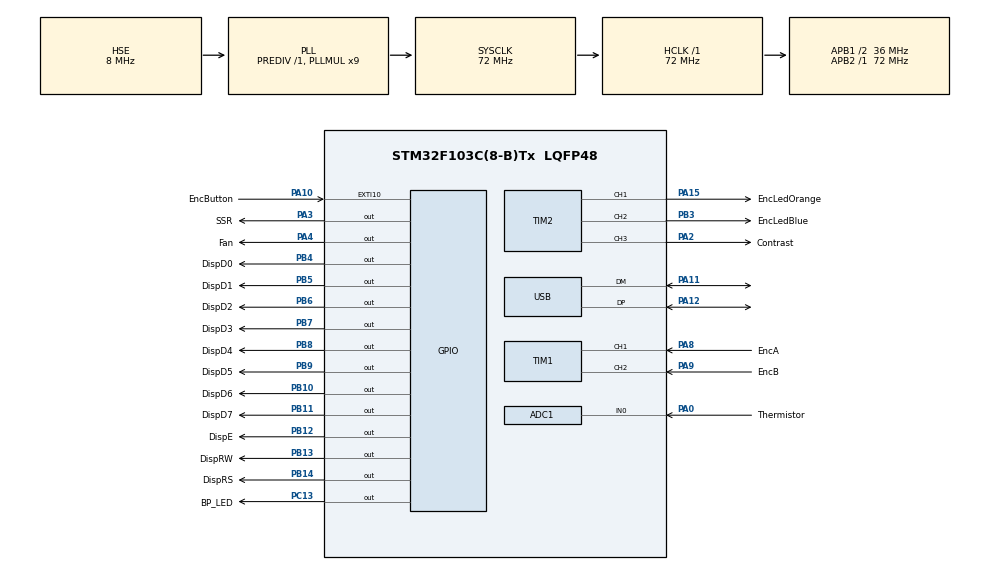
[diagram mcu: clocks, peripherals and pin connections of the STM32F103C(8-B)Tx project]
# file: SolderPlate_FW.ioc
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ADC1.Channel-0\#ChannelRegularConversion=ADC_CHANNEL_0
ADC1.Channel-1\#ChannelRegularConversion=ADC_CHANNEL_TEMPSENSOR
ADC1.Channel-2\#ChannelRegularConversion=ADC_CHANNEL_VREFINT
ADC1.ContinuousConvMode=DISABLE
ADC1.NbrOfConversion=3
ADC1.NbrOfConversionFlag=1
ADC1.Rank-0\#ChannelRegularConversion=1
ADC1.Rank-1\#ChannelRegularConversion=2
ADC1.Rank-2\#ChannelRegularConversion=3
ADC1.SamplingTime-0\#ChannelRegularConversion=ADC_SAMPLETIME_7CYCLES_5
ADC1.SamplingTime-1\#ChannelRegularConversion=ADC_SAMPLETIME_239CYCLES_5
ADC1.SamplingTime-2\#ChannelRegularConversion=ADC_SAMPLETIME_7CYCLES_5
ADC1.master=1
Dma.ADC1.0.Direction=DMA_PERIPH_TO_MEMORY
Dma.ADC1.0.Instance=DMA1_Channel1
Dma.ADC1.0.MemDataAlignment=DMA_MDATAALIGN_HALFWORD
Dma.ADC1.0.MemInc=DMA_MINC_ENABLE
Dma.ADC1.0.Mode=DMA_CIRCULAR
Dma.ADC1.0.PeriphDataAlignment=DMA_PDATAALIGN_HALFWORD
Dma.ADC1.0.PeriphInc=DMA_PINC_DISABLE
Dma.ADC1.0.Priority=DMA_PRIORITY_LOW
Dma.Request0=ADC1
IWDG.Prescaler=IWDG_PRESCALER_32
Mcu.Family=STM32F1
Mcu.Name=STM32F103C(8-B)Tx
Mcu.Package=LQFP48
NVIC.DMA1_Channel1_IRQn=true\:0\:0\:false\:false\:true\:false\:true\:true
NVIC.EXTI15_10_IRQn=true\:0\:0\:false\:false\:true\:true\:true\:true
NVIC.PriorityGroup=NVIC_PRIORITYGROUP_4
NVIC.TIM3_IRQn=true\:2\:0\:true\:false\:true\:true\:true\:true
NVIC.USB_LP_CAN1_RX0_IRQn=true\:0\:0\:true\:false\:true\:false\:true\:true
PA0-WKUP.GPIO_Label=Thermistor
PA0-WKUP.Signal=ADCx_IN0
PA10.GPIO_Label=EncButton
PA10.GPIO_ModeDefaultEXTI=GPIO_MODE_IT_FALLING
PA10.GPIO_PuPd=GPIO_PULLUP
PA10.Signal=GPXTI10
PA11.Mode=Device
PA11.Signal=USB_DM
PA12.Mode=Device
PA12.Signal=USB_DP
PA13.Mode=Serial_Wire
PA13.Signal=SYS_JTMS-SWDIO
PA14.Mode=Serial_Wire
PA14.Signal=SYS_JTCK-SWCLK
PA15.GPIO_Label=EncLedOrange
PA15.GPIO_ModeDefaultPP=GPIO_MODE_AF_OD
PA15.GPIO_Speed=GPIO_SPEED_FREQ_LOW
PA15.Signal=S_TIM2_CH1_ETR
PA2.GPIO_Label=Contrast
PA2.GPIO_Speed=GPIO_SPEED_FREQ_LOW
PA2.Signal=S_TIM2_CH3
PA3.GPIO_Label=SSR
PA3.Signal=GPIO_Output
PA4.GPIO_Label=Fan
PA4.Signal=GPIO_Output
PA8.GPIO_Label=EncA
PA8.GPIO_PuPd=GPIO_PULLUP
PA8.Signal=S_TIM1_CH1
PA9.GPIO_Label=EncB
PA9.GPIO_PuPd=GPIO_PULLUP
PA9.Signal=S_TIM1_CH2
PB10.GPIO_Label=DispD6
PB10.GPIO_Speed=GPIO_SPEED_FREQ_LOW
PB10.Signal=GPIO_Output
PB11.GPIO_Label=DispD7
PB11.GPIO_Speed=GPIO_SPEED_FREQ_LOW
PB11.Signal=GPIO_Output
PB12.GPIO_Label=DispE
PB12.GPIO_Speed=GPIO_SPEED_FREQ_LOW
PB12.Signal=GPIO_Output
PB13.GPIO_Label=DispRW
PB13.GPIO_Speed=GPIO_SPEED_FREQ_LOW
PB13.Signal=GPIO_Output
PB14.GPIO_Label=DispRS
PB14.GPIO_Speed=GPIO_SPEED_FREQ_LOW
PB14.Signal=GPIO_Output
PB3.GPIO_Label=EncLedBlue
PB3.GPIO_ModeDefaultPP=GPIO_MODE_AF_OD
PB3.GPIO_Speed=GPIO_SPEED_FREQ_LOW
PB3.Signal=S_TIM2_CH2
PB4.GPIO_Label=DispD0
PB4.GPIO_Speed=GPIO_SPEED_FREQ_LOW
PB4.Signal=GPIO_Output
PB5.GPIO_Label=DispD1
PB5.GPIO_Speed=GPIO_SPEED_FREQ_LOW
PB5.Signal=GPIO_Output
PB6.GPIO_Label=DispD2
PB6.GPIO_Speed=GPIO_SPEED_FREQ_LOW
PB6.Signal=GPIO_Output
PB7.GPIO_Label=DispD3
PB7.GPIO_Speed=GPIO_SPEED_FREQ_LOW
PB7.Signal=GPIO_Output
PB8.GPIO_Label=DispD4
PB8.GPIO_Speed=GPIO_SPEED_FREQ_LOW
PB8.Signal=GPIO_Output
PB9.GPIO_Label=DispD5
PB9.GPIO_Speed=GPIO_SPEED_FREQ_LOW
PB9.Signal=GPIO_Output
PC13-TAMPER-RTC.GPIO_Label=BP_LED
PC13-TAMPER-RTC.Signal=GPIO_Output
PC14-OSC32_IN.Mode=LSE-External-Oscillator
PC14-OSC32_IN.Signal=RCC_OSC32_IN
PC15-OSC32_OUT.Mode=LSE-External-Oscillator
PC15-OSC32_OUT.Signal=RCC_OSC32_OUT
PD0-OSC_IN.Mode=HSE-External-Oscillator
PD0-OSC_IN.Signal=RCC_OSC_IN
PD1-OSC_OUT.Mode=HSE-External-Oscillator
PD1-OSC_OUT.Signal=RCC_OSC_OUT
ProjectManager.HeapSize=0x200
ProjectManager.StackSize=0x400
ProjectManager.TargetToolchain=CMake
RCC.ADCPresc=RCC_ADCPCLK2_DIV6
RCC.AHBFreq_Value=72000000
RCC.APB1CLKDivider=RCC_HCLK_DIV2
RCC.APB1Freq_Value=36000000
RCC.APB1TimFreq_Value=72000000
RCC.APB2Freq_Value=72000000
RCC.APB2TimFreq_Value=72000000
RCC.HCLKFreq_Value=72000000
RCC.PLLMUL=RCC_PLL_MUL9
RCC.SYSCLKFreq_VALUE=72000000
RCC.SYSCLKSource=RCC_SYSCLKSOURCE_PLLCLK
RCC.USBFreq_Value=48000000
RCC.USBPrescaler=RCC_USBCLKSOURCE_PLL_DIV1_5
SH.ADCx_IN0.0=ADC1_IN0,IN0
SH.S_TIM1_CH1.0=TIM1_CH1,Encoder_Interface
SH.S_TIM1_CH2.0=TIM1_CH2,Encoder_Interface
SH.S_TIM2_CH1_ETR.0=TIM2_CH1,PWM Generation1 CH1
SH.S_TIM2_CH2.0=TIM2_CH2,PWM Generation2 CH2
SH.S_TIM2_CH3.0=TIM2_CH3,PWM Generation3 CH3
TIM1.AutoReloadPreload=TIM_AUTORELOAD_PRELOAD_ENABLE
TIM1.EncoderMode=TIM_ENCODERMODE_TI12
TIM1.IC1Filter=10
TIM1.IC2Filter=10
TIM2.AutoReloadPreload=TIM_AUTORELOAD_PRELOAD_ENABLE
TIM2.Channel-PWM\ Generation1\ CH1=TIM_CHANNEL_1
TIM2.Channel-PWM\ Generation2\ CH2=TIM_CHANNEL_2
TIM2.Channel-PWM\ Generation3\ CH3=TIM_CHANNEL_3
TIM2.OCPolarity_1=TIM_OCPOLARITY_LOW
TIM2.OCPolarity_2=TIM_OCPOLARITY_LOW
TIM3.AutoReloadPreload=TIM_AUTORELOAD_PRELOAD_DISABLE
TIM3.ClockDivision=TIM_CLOCKDIVISION_DIV1
TIM3.CounterMode=TIM_COUNTERMODE_UP
TIM3.Period=60000
TIM3.Prescaler=11
TIM3.TIM_MasterOutputTrigger=TIM_TRGO_RESET
USB_DEVICE.CLASS_NAME_FS=CDC
USB_DEVICE.PRODUCT_STRING_CDC_FS=Virtual ComPort
USB_DEVICE.VirtualMode=Cdc
USB_DEVICE.VirtualModeFS=Cdc_FS
VP_ADC1_TempSens_Input.Mode=IN-TempSens
VP_ADC1_Vref_Input.Mode=IN-Vrefint
VP_IWDG_VS_IWDG.Mode=IWDG_Activate
VP_TIM2_VS_ClockSourceINT.Mode=Internal
VP_TIM3_VS_ClockSourceINT.Mode=Internal
VP_USB_DEVICE_VS_USB_DEVICE_CDC_FS.Mode=CDC_FS
board=custom

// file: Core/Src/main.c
/* USER CODE BEGIN Header */
/**
  ******************************************************************************
  * @file           : main.c
  * @brief          : Main program body
  ******************************************************************************
  * @attention
  *
  * Copyright (c) 2023 STMicroelectronics.
  * All rights reserved.
  *
  * This software is licensed under terms that can be found in the LICENSE file
  * in the root directory of this software component.
  * If no LICENSE file comes with this software, it is provided AS-IS.
  *
  ******************************************************************************
  */
/* USER CODE END Header */
#include "main.h"
#include "usb_device.h"

/* USER CODE BEGIN Includes */
#include "usbd_cdc_if.h"
#include "usb_redirect.h"

#include <stdio.h>
#include <math.h>
#include <stdint.h>
#include <stdbool.h>

#include "lcd16x2.h"
#include "config.h"
#include "thermistor.h"
#include "leds.h"
#include "pid.h"
#include "cli.h"
#include "state.h"
#include "persistent_data.h"
#include "menu.h"
/* USER CODE END Includes */

/* USER CODE BEGIN PD */
#define ADC_VDDA  (3.3)             // V
#define ADC_RANGE (4096)
#define THRM_AVG  (40)

#define LED_RANGE ((2 << 16) - 1)
#define LED_RATE  (100)

#define LCD_BLINK_RATE (30)        // x30mS

#define SHORT_PRESS (5)            // x10mS
#define LONG_PRESS  (100)          // x10mS

#define INT_TEMP_STEP   (4.3)       // mV
#define INT_TEMP_V25    (1430.0)    // mV

#define ADC_THRM_CH     (0)
#define ADC_INTTEMP_CH  (1)
#define ADC_VREF_CH     (2)

/* USER CODE END PD */

ADC_HandleTypeDef hadc1;
DMA_HandleTypeDef hdma_adc1;

IWDG_HandleTypeDef hiwdg;

TIM_HandleTypeDef htim1;
TIM_HandleTypeDef htim2;
TIM_HandleTypeDef htim3;

/* USER CODE BEGIN PV */

/*
Timer1 - Encoder input
Timer2 - PWM generator:
         Ch1 - Orange Encoder LED
         Ch2 - Blue Encoder LED
         Ch3 - LCD contrast
Timer3 - 10msec clock

*/

/* USER CODE END PV */

void SystemClock_Config(void);
static void MX_GPIO_Init(void);
static void MX_DMA_Init(void);
static void MX_ADC1_Init(void);
static void MX_TIM1_Init(void);
static void MX_TIM2_Init(void);
static void MX_TIM3_Init(void);
static void MX_IWDG_Init(void);
/* USER CODE BEGIN PFP */

extern uint32_t _estack;

static inline void reset_to_bootloader() {
  uint64_t * ptr = (uint64_t*)&_estack;
	*ptr = 0xDEADBEEFCC00FFEEULL;

  NVIC_SystemReset() ;
}

/* USER CODE END PFP */

/* USER CODE BEGIN 0 */
volatile uint16_t adc_results[3] ;
uint16_t thrm_res_buffer[THRM_AVG] ;

static uint16_t thrm_buf_idx = 0 ;
static uint16_t ssr_on_counter = 0 ;
static float plate_set_temp = DEFAULT_TEMP ;
static float user_set_temp = DEFAULT_TEMP ;

uint8_t ssr_off_char[8] = {0x1f, 0x11, 0x11, 0x11, 0x11, 0x11, 0x1f, 0x00} ;
uint8_t ssr_on_char[8]  = {0x1f, 0x1f, 0x1f, 0x1f, 0x1f, 0x1f, 0x1f, 0x00} ;

leds_state_t * orange_led ;
leds_state_t * blue_led ;

volatile uint32_t sec_ticker = 0 ;
volatile struct enc_button_s enc_button = {BUTTON_DONE, 0} ;
volatile uint32_t lcd_timer = 2 * LCD_BLINK_RATE ;
bool is_lcd_blink = false ;

/* USER CODE END 0 */

int main(void)
{

  /* USER CODE BEGIN 1 */
  float plate_temp ;
  float therm_rt ;
  char temp_update[17] ;
  int32_t last_count ;

  SystemState = SYS_POWER_UP ;

  /* USER CODE END 1 */

  /* MCU Configuration--------------------------------------------------------*/

  /* Reset of all peripherals, Initializes the Flash interface and the Systick. */
  HAL_Init();

  /* Configure the system clock */
  SystemClock_Config();

  /* Initialize all configured peripherals */
  MX_GPIO_Init();
  MX_DMA_Init();
  MX_ADC1_Init();
  MX_TIM1_Init();
  MX_TIM2_Init();
  MX_USB_DEVICE_Init();
  MX_TIM3_Init();
  MX_IWDG_Init();
  /* USER CODE BEGIN 2 */

//  setvbuf(stdout, NULL, _IONBF, 0);
  HAL_ADCEx_Calibration_Start(&hadc1) ;

  HAL_GPIO_WritePin(BP_LED_GPIO_Port, BP_LED_Pin, GPIO_PIN_RESET) ;
  HAL_GPIO_WritePin(SSR_GPIO_Port, SSR_Pin, GPIO_PIN_RESET) ;
  HAL_GPIO_WritePin(Fan_GPIO_Port, Fan_Pin, GPIO_PIN_RESET) ;

  HAL_TIM_PWM_Start(&htim2, TIM_CHANNEL_1) ;
  HAL_TIM_PWM_Start(&htim2, TIM_CHANNEL_2) ;
  HAL_TIM_PWM_Start(&htim2, TIM_CHANNEL_3) ;

  init_leds(100) ;
  orange_led = new_led(16, &(TIM2->CCR1)) ;
  blue_led = new_led(16, &(TIM2->CCR2)) ;

  set_led(blue_led, 20, 500) ;
//  printf("Start!\r\n") ;
  HAL_IWDG_Refresh(&hiwdg) ;

  TIM2->CCR3 = 27000 ; // LCD contrast

  HAL_TIM_Encoder_Start(&htim1, TIM_CHANNEL_ALL) ;

  LCD_Init(DispD0_GPIO_Port, IF_8BIT,
           DispRW_Pin, DispRS_Pin, DispE_Pin,
           DispD0_Pin, DispD1_Pin, DispD2_Pin, DispD3_Pin,
           DispD4_Pin, DispD5_Pin, DispD6_Pin, DispD7_Pin) ;

  LCD_SetCustomChar(1, ssr_off_char) ;
  LCD_SetCustomChar(2, ssr_on_char) ;

  LCD_SetPosition(LINE_1, 0) ;
  LCD_Print("  Temp.   Set  \x01") ;
//           1234567890123456

//  setvbuf(stdout, NULL, _IONBF, 0);
  plate_temp = 0.0 ;
  therm_rt = 0.0 ;
  last_count = TIM1->CNT ;

  HAL_IWDG_Refresh(&hiwdg) ;
  if (persistent_load() != HAL_OK) {
    LCD_SetPosition(LINE_1, 0) ;
    LCD_Print("Config Error!") ;

    Error_Handler();
  }

  pid_config_t * plate_pid = init_pid(persistent_data->p_gain,
                                      persistent_data->i_gain,
                                      persistent_data->d_gain,
                                      persistent_data->i_min,
                                      persistent_data->i_max) ;

  uint8_t update_display = 1 ;

  HAL_TIM_Base_Start_IT(&htim3) ;

  // Reset to bootloader, if encoder button is pressed for more than 30sec.
  uint32_t press_start = 0 ;
  while(HAL_GPIO_ReadPin(EncButton_GPIO_Port, EncButton_Pin) == GPIO_PIN_RESET) {
    HAL_Delay(100) ;
    if(press_start++ > 50) reset_to_bootloader() ;
  }

  /* USER CODE END 2 */

  /* Infinite loop */
  /* USER CODE BEGIN WHILE */
  SystemState = SYS_RUNNING ;
  int32_t menu_i = 0 ;
  double current_value = 0.0 ;

  while (1)
  {
    // Accumulated enough thermal sensor captures to do an average
    if(thrm_buf_idx >= THRM_AVG) {
      float thrm_sum = 0 ;

      // Average ADC readings
      for(int i = 0 ; i < THRM_AVG ; i++) thrm_sum += (float)thrm_res_buffer[i] ;
      thrm_sum /= THRM_AVG ;

      // Reset samples accumulator count
      thrm_buf_idx = 0 ;

      // Calculate plate temperature
      therm_rt = rt_by_ratio(thrm_sum / (float)ADC_RANGE, THERM_R1) ;
      plate_temp = calculate_temperature(therm_rt, THERM_BETA, THERM_R_T25) ;

      // Update PID and set plate SSR on time
      // On time is in 10mS resolution
      double pid_res = update_pid(plate_pid, plate_set_temp - plate_temp, plate_temp) ;
      if(pid_res <= 0) ssr_on_counter = 0 ;
      else ssr_on_counter = (uint16_t)pid_res ;

      update_display = 1 ;
    }

  // adc_v = ADC_VDDA * (thrm_sum / (float)ADC_RANGE) ;

  //  adc_v = ADC_VDDA * ((float) adc_results[ADC_INTTEMP_CH] / (float) ADC_RANGE) ;
  //  int_temp = (INT_TEMP_V25 - adc_v * 1000) / INT_TEMP_STEP + 25 ;
  //  printf("IntTemp = %3.1f | VIntTemp = %1.3fV (%d)\n\r", int_temp, adc_v, adc_results[ADC_INTTEMP_CH]) ;

  //  adc_v = ADC_VDDA * ((float) adc_results[2] / (float) ADC_RANGE) ;
  //  printf("Vref = %1.3fV (%d)\n\r", adc_v, adc_results[2]) ;

    if(SystemState == SYS_RUNNING) {
      // Update set temperature value
      if((TIM1->CNT >> 2) - last_count) {
        int32_t change = ((int32_t)(TIM1->CNT >> 2) - last_count) ;

        if (abs(change) < 10) user_set_temp += change * 1.0 ;
        else user_set_temp += change * 5.0 ;

        last_count = TIM1->CNT >> 2 ;

        if (user_set_temp > MAX_TEMP) user_set_temp = MAX_TEMP ;
        if (user_set_temp < MIN_TEMP) user_set_temp = MIN_TEMP ;

        if (user_set_temp != plate_set_temp) is_lcd_blink = true ;
        else is_lcd_blink = false ;

        update_display = 1 ;
      }

      // Update LCD
      if(update_display) {
        HAL_IWDG_Refresh(&hiwdg) ;

        LCD_SetPosition(LINE_1, 0) ;
        LCD_Print("  Temp.   Set  ") ;

        LCD_SetPosition(LINE_2, 0) ;

        if (is_lcd_blink && lcd_timer > LCD_BLINK_RATE) {
          snprintf(temp_update, 17, "% 3.1f\xb2\x43          ", plate_temp) ;
          LCD_Print(temp_update) ;
        }
        else {
          snprintf(temp_update, 17, "% 3.1f\xb2\x43  % 3.0f\xb2\x43 ", plate_temp, user_set_temp) ;
          LCD_Print(temp_update) ;
        }

        update_display = 0 ;
      }

      switch (enc_button.state)
      {
      case BUTTON_SHORT:
        plate_set_temp = user_set_temp ;
        is_lcd_blink = false ;
        enc_button.state = BUTTON_DONE ;
        break;
      case BUTTON_LONG:
        if (SystemState == SYS_RUNNING) SystemState = SYS_MENU ;
        enc_button.state = BUTTON_DONE ;
        break;
      case BUTTON_RELEASE:
        enc_button.state = BUTTON_DONE ;
        break;
      default:
        break;
      }
    }

    if(ssr_on_counter > 0) {
      LCD_SetPosition(LINE_1, 15) ;
      LCD_Print("\x02") ;
      HAL_GPIO_WritePin(SSR_GPIO_Port, SSR_Pin, GPIO_PIN_SET) ;
    }
    else {
      LCD_SetPosition(LINE_1, 15) ;
      LCD_Print("\x01") ;
      HAL_GPIO_WritePin(SSR_GPIO_Port, SSR_Pin, GPIO_PIN_RESET) ;
    }

    if (SystemState == SYS_MENU) {
      if((TIM1->CNT >> 2) - last_count) {
        int32_t change = ((int32_t)(TIM1->CNT >> 2) - last_count) ;

        menu_i += change ;

        if (menu_i < 0) menu_i = 0 ;
        if (menu_i >= (int32_t) menu_size) menu_i = menu_size - 1 ;

        last_count = TIM1->CNT >> 2 ;

        current_value = *(user_menu[menu_i].value) ;

        update_display = 1 ;
      }

      if(update_display) {
        HAL_IWDG_Refresh(&hiwdg) ;
        LCD_SetPosition(LINE_1, 0) ;
        snprintf(temp_update, 17, "\xf6 %-13s", user_menu[menu_i].title) ;
        LCD_Print(temp_update) ;

        if (user_menu[menu_i].value != NULL) {
          LCD_SetPosition(LINE_2, 0) ;
          snprintf(temp_update, 17, " %-15.1f", current_value) ;
          LCD_Print(temp_update) ;
        }
        else {
          LCD_SetPosition(LINE_2, 0) ;
          snprintf(temp_update, 17, "               ") ;
          LCD_Print(temp_update) ;
        }

        update_display = 0 ;
      }

      switch (enc_button.state)
      {
      case BUTTON_SHORT:
        enc_button.state = BUTTON_DONE ;
        break;
      case BUTTON_LONG:
        SystemState = SYS_RUNNING ;
        enc_button.state = BUTTON_DONE ;
        break;
      case BUTTON_RELEASE:
        enc_button.state = BUTTON_DONE ;
        break;
      default:
        break;
      }
    }

    if (SystemState == SYS_RESET) HAL_NVIC_SystemReset() ;
    if (SystemState == SYS_BOOTLOADER_RESET) reset_to_bootloader() ;

    if (SystemState == SYS_CMD_EXEC) cli_exec() ;

    /* USER CODE END WHILE */

  }
}

void SystemClock_Config(void)
{
  RCC_OscInitTypeDef RCC_OscInitStruct = {0};
  RCC_ClkInitTypeDef RCC_ClkInitStruct = {0};
  RCC_PeriphCLKInitTypeDef PeriphClkInit = {0};

  /** Initializes the RCC Oscillators according to the specified parameters
  * in the RCC_OscInitTypeDef structure.
  */
  RCC_OscInitStruct.OscillatorType = RCC_OSCILLATORTYPE_LSI|RCC_OSCILLATORTYPE_HSE;
  RCC_OscInitStruct.HSEState = RCC_HSE_ON;
  RCC_OscInitStruct.HSEPredivValue = RCC_HSE_PREDIV_DIV1;
  RCC_OscInitStruct.HSIState = RCC_HSI_ON;
  RCC_OscInitStruct.LSIState = RCC_LSI_ON;
  RCC_OscInitStruct.PLL.PLLState = RCC_PLL_ON;
  RCC_OscInitStruct.PLL.PLLSource = RCC_PLLSOURCE_HSE;
  RCC_OscInitStruct.PLL.PLLMUL = RCC_PLL_MUL9;
  if (HAL_RCC_OscConfig(&RCC_OscInitStruct) != HAL_OK)
  {
    Error_Handler();
  }

  /** Initializes the CPU, AHB and APB buses clocks
  */
  RCC_ClkInitStruct.ClockType = RCC_CLOCKTYPE_HCLK|RCC_CLOCKTYPE_SYSCLK
                              |RCC_CLOCKTYPE_PCLK1|RCC_CLOCKTYPE_PCLK2;
  RCC_ClkInitStruct.SYSCLKSource = RCC_SYSCLKSOURCE_PLLCLK;
  RCC_ClkInitStruct.AHBCLKDivider = RCC_SYSCLK_DIV1;
  RCC_ClkInitStruct.APB1CLKDivider = RCC_HCLK_DIV2;
  RCC_ClkInitStruct.APB2CLKDivider = RCC_HCLK_DIV1;

  if (HAL_RCC_ClockConfig(&RCC_ClkInitStruct, FLASH_LATENCY_2) != HAL_OK)
  {
    Error_Handler();
  }
  PeriphClkInit.PeriphClockSelection = RCC_PERIPHCLK_ADC|RCC_PERIPHCLK_USB;
  PeriphClkInit.AdcClockSelection = RCC_ADCPCLK2_DIV6;
  PeriphClkInit.UsbClockSelection = RCC_USBCLKSOURCE_PLL_DIV1_5;
  if (HAL_RCCEx_PeriphCLKConfig(&PeriphClkInit) != HAL_OK)
  {
    Error_Handler();
  }
}

static void MX_ADC1_Init(void)
{

  ADC_ChannelConfTypeDef sConfig = {0};

  /** Common config
  */
  hadc1.Instance = ADC1;
  hadc1.Init.ScanConvMode = ADC_SCAN_ENABLE;
  hadc1.Init.ContinuousConvMode = DISABLE;
  hadc1.Init.DiscontinuousConvMode = DISABLE;
  hadc1.Init.ExternalTrigConv = ADC_SOFTWARE_START;
  hadc1.Init.DataAlign = ADC_DATAALIGN_RIGHT;
  hadc1.Init.NbrOfConversion = 3;
  if (HAL_ADC_Init(&hadc1) != HAL_OK)
  {
    Error_Handler();
  }

  /** Configure Regular Channel
  */
  sConfig.Channel = ADC_CHANNEL_0;
  sConfig.Rank = ADC_REGULAR_RANK_1;
  sConfig.SamplingTime = ADC_SAMPLETIME_7CYCLES_5;
  if (HAL_ADC_ConfigChannel(&hadc1, &sConfig) != HAL_OK)
  {
    Error_Handler();
  }

  /** Configure Regular Channel
  */
  sConfig.Channel = ADC_CHANNEL_TEMPSENSOR;
  sConfig.Rank = ADC_REGULAR_RANK_2;
  sConfig.SamplingTime = ADC_SAMPLETIME_239CYCLES_5;
  if (HAL_ADC_ConfigChannel(&hadc1, &sConfig) != HAL_OK)
  {
    Error_Handler();
  }

  /** Configure Regular Channel
  */
  sConfig.Channel = ADC_CHANNEL_VREFINT;
  sConfig.Rank = ADC_REGULAR_RANK_3;
  sConfig.SamplingTime = ADC_SAMPLETIME_7CYCLES_5;
  if (HAL_ADC_ConfigChannel(&hadc1, &sConfig) != HAL_OK)
  {
    Error_Handler();
  }

}

static void MX_IWDG_Init(void)
{

  hiwdg.Instance = IWDG;
  hiwdg.Init.Prescaler = IWDG_PRESCALER_64;
  hiwdg.Init.Reload = 4095;
  if (HAL_IWDG_Init(&hiwdg) != HAL_OK)
  {
    Error_Handler();
  }

}

static void MX_TIM1_Init(void)
{

  TIM_Encoder_InitTypeDef sConfig = {0};
  TIM_MasterConfigTypeDef sMasterConfig = {0};

  htim1.Instance = TIM1;
  htim1.Init.Prescaler = 0;
  htim1.Init.CounterMode = TIM_COUNTERMODE_UP;
  htim1.Init.Period = 65535;
  htim1.Init.ClockDivision = TIM_CLOCKDIVISION_DIV1;
  htim1.Init.RepetitionCounter = 0;
  htim1.Init.AutoReloadPreload = TIM_AUTORELOAD_PRELOAD_ENABLE;
  sConfig.EncoderMode = TIM_ENCODERMODE_TI12;
  sConfig.IC1Polarity = TIM_ICPOLARITY_RISING;
  sConfig.IC1Selection = TIM_ICSELECTION_DIRECTTI;
  sConfig.IC1Prescaler = TIM_ICPSC_DIV1;
  sConfig.IC1Filter = 10;
  sConfig.IC2Polarity = TIM_ICPOLARITY_RISING;
  sConfig.IC2Selection = TIM_ICSELECTION_DIRECTTI;
  sConfig.IC2Prescaler = TIM_ICPSC_DIV1;
  sConfig.IC2Filter = 10;
  if (HAL_TIM_Encoder_Init(&htim1, &sConfig) != HAL_OK)
  {
    Error_Handler();
  }
  sMasterConfig.MasterOutputTrigger = TIM_TRGO_RESET;
  sMasterConfig.MasterSlaveMode = TIM_MASTERSLAVEMODE_DISABLE;
  if (HAL_TIMEx_MasterConfigSynchronization(&htim1, &sMasterConfig) != HAL_OK)
  {
    Error_Handler();
  }

}

static void MX_TIM2_Init(void)
{

  TIM_ClockConfigTypeDef sClockSourceConfig = {0};
  TIM_MasterConfigTypeDef sMasterConfig = {0};
  TIM_OC_InitTypeDef sConfigOC = {0};

  htim2.Instance = TIM2;
  htim2.Init.Prescaler = 0;
  htim2.Init.CounterMode = TIM_COUNTERMODE_UP;
  htim2.Init.Period = 65535;
  htim2.Init.ClockDivision = TIM_CLOCKDIVISION_DIV1;
  htim2.Init.AutoReloadPreload = TIM_AUTORELOAD_PRELOAD_ENABLE;
  if (HAL_TIM_Base_Init(&htim2) != HAL_OK)
  {
    Error_Handler();
  }
  sClockSourceConfig.ClockSource = TIM_CLOCKSOURCE_INTERNAL;
  if (HAL_TIM_ConfigClockSource(&htim2, &sClockSourceConfig) != HAL_OK)
  {
    Error_Handler();
  }
  if (HAL_TIM_PWM_Init(&htim2) != HAL_OK)
  {
    Error_Handler();
  }
  sMasterConfig.MasterOutputTrigger = TIM_TRGO_RESET;
  sMasterConfig.MasterSlaveMode = TIM_MASTERSLAVEMODE_DISABLE;
  if (HAL_TIMEx_MasterConfigSynchronization(&htim2, &sMasterConfig) != HAL_OK)
  {
    Error_Handler();
  }
  sConfigOC.OCMode = TIM_OCMODE_PWM1;
  sConfigOC.Pulse = 0;
  sConfigOC.OCPolarity = TIM_OCPOLARITY_LOW;
  sConfigOC.OCFastMode = TIM_OCFAST_DISABLE;
  if (HAL_TIM_PWM_ConfigChannel(&htim2, &sConfigOC, TIM_CHANNEL_1) != HAL_OK)
  {
    Error_Handler();
  }
  if (HAL_TIM_PWM_ConfigChannel(&htim2, &sConfigOC, TIM_CHANNEL_2) != HAL_OK)
  {
    Error_Handler();
  }
  sConfigOC.OCPolarity = TIM_OCPOLARITY_HIGH;
  if (HAL_TIM_PWM_ConfigChannel(&htim2, &sConfigOC, TIM_CHANNEL_3) != HAL_OK)
  {
    Error_Handler();
  }
  HAL_TIM_MspPostInit(&htim2);

}

static void MX_TIM3_Init(void)
{

  TIM_ClockConfigTypeDef sClockSourceConfig = {0};
  TIM_MasterConfigTypeDef sMasterConfig = {0};

  htim3.Instance = TIM3;
  htim3.Init.Prescaler = 11;
  htim3.Init.CounterMode = TIM_COUNTERMODE_UP;
  htim3.Init.Period = 60000;
  htim3.Init.ClockDivision = TIM_CLOCKDIVISION_DIV1;
  htim3.Init.AutoReloadPreload = TIM_AUTORELOAD_PRELOAD_DISABLE;
  if (HAL_TIM_Base_Init(&htim3) != HAL_OK)
  {
    Error_Handler();
  }
  sClockSourceConfig.ClockSource = TIM_CLOCKSOURCE_INTERNAL;
  if (HAL_TIM_ConfigClockSource(&htim3, &sClockSourceConfig) != HAL_OK)
  {
    Error_Handler();
  }
  sMasterConfig.MasterOutputTrigger = TIM_TRGO_RESET;
  sMasterConfig.MasterSlaveMode = TIM_MASTERSLAVEMODE_DISABLE;
  if (HAL_TIMEx_MasterConfigSynchronization(&htim3, &sMasterConfig) != HAL_OK)
  {
    Error_Handler();
  }

}

static void MX_DMA_Init(void)
{

  /* DMA controller clock enable */
  __HAL_RCC_DMA1_CLK_ENABLE();

  /* DMA interrupt init */
  /* DMA1_Channel1_IRQn interrupt configuration */
  HAL_NVIC_SetPriority(DMA1_Channel1_IRQn, 0, 0);
  HAL_NVIC_EnableIRQ(DMA1_Channel1_IRQn);

}

static void MX_GPIO_Init(void)
{
  GPIO_InitTypeDef GPIO_InitStruct = {0};

  /* GPIO Ports Clock Enable */
  __HAL_RCC_GPIOC_CLK_ENABLE();
  __HAL_RCC_GPIOD_CLK_ENABLE();
  __HAL_RCC_GPIOA_CLK_ENABLE();
  __HAL_RCC_GPIOB_CLK_ENABLE();

  /*Configure GPIO pin Output Level */
  HAL_GPIO_WritePin(BP_LED_GPIO_Port, BP_LED_Pin, GPIO_PIN_RESET);

  /*Configure GPIO pin Output Level */
  HAL_GPIO_WritePin(GPIOA, SSR_Pin|Fan_Pin, GPIO_PIN_RESET);

  /*Configure GPIO pin Output Level */
  HAL_GPIO_WritePin(GPIOB, DispD6_Pin|DispD7_Pin|DispE_Pin|DispRW_Pin
                          |DispRS_Pin|DispD0_Pin|DispD1_Pin|DispD2_Pin
                          |DispD3_Pin|DispD4_Pin|DispD5_Pin, GPIO_PIN_RESET);

  /*Configure GPIO pin : BP_LED_Pin */
  GPIO_InitStruct.Pin = BP_LED_Pin;
  GPIO_InitStruct.Mode = GPIO_MODE_OUTPUT_PP;
  GPIO_InitStruct.Pull = GPIO_NOPULL;
  GPIO_InitStruct.Speed = GPIO_SPEED_FREQ_LOW;
  HAL_GPIO_Init(BP_LED_GPIO_Port, &GPIO_InitStruct);

  /*Configure GPIO pins : PA1 PA5 PA6 PA7 */
  GPIO_InitStruct.Pin = GPIO_PIN_1|GPIO_PIN_5|GPIO_PIN_6|GPIO_PIN_7;
  GPIO_InitStruct.Mode = GPIO_MODE_ANALOG;
  HAL_GPIO_Init(GPIOA, &GPIO_InitStruct);

  /*Configure GPIO pins : SSR_Pin Fan_Pin */
  GPIO_InitStruct.Pin = SSR_Pin|Fan_Pin;
  GPIO_InitStruct.Mode = GPIO_MODE_OUTPUT_PP;
  GPIO_InitStruct.Pull = GPIO_NOPULL;
  GPIO_InitStruct.Speed = GPIO_SPEED_FREQ_LOW;
  HAL_GPIO_Init(GPIOA, &GPIO_InitStruct);

  /*Configure GPIO pins : PB0 PB1 PB2 PB15 */
  GPIO_InitStruct.Pin = GPIO_PIN_0|GPIO_PIN_1|GPIO_PIN_2|GPIO_PIN_15;
  GPIO_InitStruct.Mode = GPIO_MODE_ANALOG;
  HAL_GPIO_Init(GPIOB, &GPIO_InitStruct);

  /*Configure GPIO pins : DispD6_Pin DispD7_Pin DispE_Pin DispRW_Pin
                           DispRS_Pin DispD0_Pin DispD1_Pin DispD2_Pin
                           DispD3_Pin DispD4_Pin DispD5_Pin */
  GPIO_InitStruct.Pin = DispD6_Pin|DispD7_Pin|DispE_Pin|DispRW_Pin
                          |DispRS_Pin|DispD0_Pin|DispD1_Pin|DispD2_Pin
                          |DispD3_Pin|DispD4_Pin|DispD5_Pin;
  GPIO_InitStruct.Mode = GPIO_MODE_OUTPUT_PP;
  GPIO_InitStruct.Pull = GPIO_NOPULL;
  GPIO_InitStruct.Speed = GPIO_SPEED_FREQ_LOW;
  HAL_GPIO_Init(GPIOB, &GPIO_InitStruct);

  /*Configure GPIO pin : EncButton_Pin */
  GPIO_InitStruct.Pin = EncButton_Pin;
  GPIO_InitStruct.Mode = GPIO_MODE_IT_RISING_FALLING;
  GPIO_InitStruct.Pull = GPIO_PULLUP;
  HAL_GPIO_Init(EncButton_GPIO_Port, &GPIO_InitStruct);

  /* EXTI interrupt init*/
  HAL_NVIC_SetPriority(EXTI15_10_IRQn, 0, 0);
  HAL_NVIC_EnableIRQ(EXTI15_10_IRQn);

}

/* USER CODE BEGIN 4 */
void HAL_GPIO_EXTI_Callback(uint16_t GPIO_Pin) {
  if (GPIO_Pin == EncButton_Pin) {
    if(HAL_GPIO_ReadPin(EncButton_GPIO_Port, EncButton_Pin) == GPIO_PIN_RESET) {
      enc_button.state = BUTTON_PRESS ;
      enc_button.timer = 0 ;
    }

    else if(HAL_GPIO_ReadPin(EncButton_GPIO_Port, EncButton_Pin) == GPIO_PIN_SET && enc_button.state == BUTTON_PRESS) {
      if (enc_button.timer > LONG_PRESS) enc_button.state = BUTTON_LONG ;
      else if(enc_button.timer > SHORT_PRESS) enc_button.state = BUTTON_SHORT ;
      else enc_button.state = BUTTON_RELEASE ;
    }
  }
}

void HAL_TIM_PeriodElapsedCallback(TIM_HandleTypeDef *htim) {
  static uint16_t led_counter = 0 ;

  if(htim == &htim3) {
    // Toggle onboard LED
    if(++led_counter == 100) {
      HAL_GPIO_TogglePin(BP_LED_GPIO_Port, BP_LED_Pin) ;
      sec_ticker++ ;
      led_counter = 0 ;
    }

    // Do ADC capture
    if((HAL_ADC_GetState(&hadc1) & HAL_ADC_STATE_REG_BUSY) == 0)
      HAL_ADC_Start_DMA(&hadc1, (uint32_t *) adc_results, 3) ;

    // Updates plate SSR on counter
    if(ssr_on_counter > 0) ssr_on_counter-- ;

    if(enc_button.state == BUTTON_PRESS) enc_button.timer++ ;

    if (lcd_timer == 0) lcd_timer = 2 * LCD_BLINK_RATE ;
    else lcd_timer-- ;

    // Update LEDs state
    update_leds() ;
  }
}

void HAL_ADC_ConvCpltCallback(ADC_HandleTypeDef* hadc){
  if(hadc == &hadc1) {
    if(thrm_buf_idx < THRM_AVG)
      thrm_res_buffer[thrm_buf_idx++] = adc_results[ADC_THRM_CH] ;
  }
}

void USB_CDC_RxHandler(uint8_t* Buf, uint32_t Len)
{
    char cmd_str[CMD_SIZE] ;

    memcpy(cmd_str, Buf, Len) ;
    cmd_str[Len] = '\0' ;

    cli_input(cmd_str) ;
}
/* USER CODE END 4 */

void Error_Handler(void)
{
  /* USER CODE BEGIN Error_Handler_Debug */
  /* User can add his own implementation to report the HAL error return state */

  set_led(blue_led, 0, 500) ;
  set_led(orange_led, 20, 500) ;
  __disable_irq();
  while (1)
  {
  }
  /* USER CODE END Error_Handler_Debug */
}
